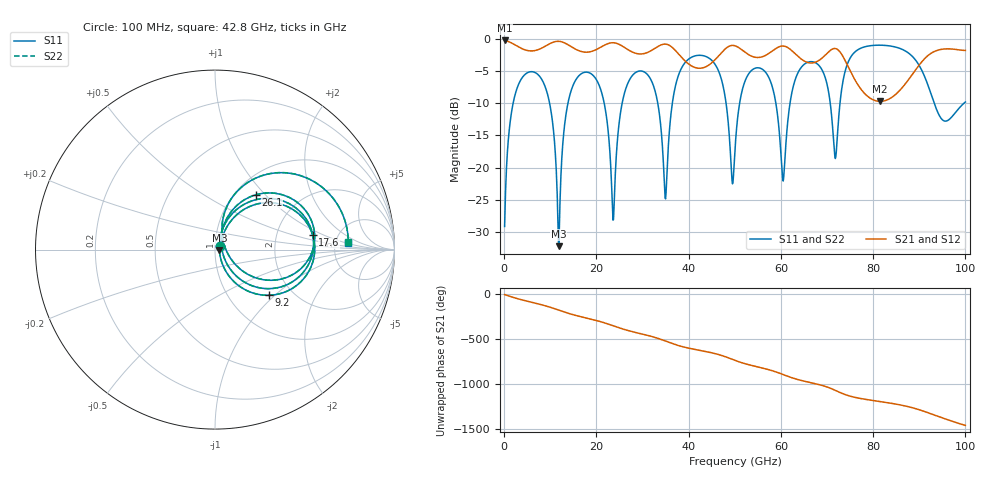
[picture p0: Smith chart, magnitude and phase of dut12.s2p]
! Touchstone file exported from HFSS 2026.1.0
!  File:  C:/ffzhzh/LocalFiles/Ansys_Project_Files/temp_train_TSV_RDL_12_1783437372_7600.aedt
!  Generated:  11:50:47 PM Jul  7, 2026
!  Design:  TSV_RDL
!  Project:  temp_train_TSV_RDL_12_1783437372_7600
! Variables:
!  h_bsmrdl = 2.25um
!  h_ox = 20um
!  h_rdl = 5um
!  h_sub = 75.77um
!  h_tmrdl = 2.56um
!  h_tsv = 75.77um
!  h_via = 3um
!  l_bsmrdl = 585.73um
!  l_sub = 5000.6um
!  l_tmrdl = 676um
!  m_sub = 200um
!  pitch = 53.32um
!  r_tsv = 9.97um
!  s_tmrdl = 10um
!  w_bsmrdl = 25.25um
!  w_sub = 500um
!  w_tmrdl = 21.22um
!  x_tsv_center1 = 686.61um
!  x_tsv_center2 = 1297.59um
!  x_tsv_center3 = 1994.81um
!  x_tsv_center4 = 2605.79um
!  x_tsv_center5 = 3303.01um
!  x_tsv_center6 = 3913.99um
# GHz S MA R 50.000000
! Terminal data exported
! Port[1] = TM_RDL1_1_T1
! Port[2] = TM_RDL5_1_T1
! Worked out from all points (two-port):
!   1000 points, 100 MHz to 100 GHz, reference 50 ohm
!   highest |S21| = -0.26 dB at 100 MHz (marker M1); lowest = -9.7 dB at 81.5 GHz (marker M2)
!   |S21| within 3 dB of the highest: start of sweep to 38.97 GHz; 45.71 GHz to 64.64 GHz (18.93 GHz wide, 34.3 % of centre) (the widest 2 of 4)
!   lowest |S11| = -32.2 dB at 11.8 GHz (marker M3), VSWR 1.05, Z = 52.5 - j0.397 ohm
!   |S11| at or under -10 dB: 9.857 GHz to 13.83 GHz (3.971 GHz wide, 33.5 % of centre); 21.7 GHz to 25.58 GHz (3.884 GHz wide, 16.4 % of centre); 93.24 GHz to 99.68 GHz (6.433 GHz wide, 6.67 % of centre) (the widest 3 of 8)
!   |S22| runs from -32.2 to -1.0 dB; largest |S21 - S12| = 6e-12
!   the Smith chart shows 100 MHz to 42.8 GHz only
!   S11 on the Smith chart (normalised r, x): 100 MHz: 1.06, +0.04; 9.2 GHz: 1.53, -0.92; 17.6 GHz: 3.26, +0.75; 26.1 GHz: 1.24, +0.88; 42.8 GHz: 6.59, +1.13
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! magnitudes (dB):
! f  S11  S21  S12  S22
! 100 MHz  -29.1  -0.3  -0.3  -29.1
! 2.9 GHz  -7.5  -1.2  -1.2  -7.5
! 9.2 GHz  -8.1  -1.0  -1.0  -8.1
! 11.8 GHz  -32.2  -0.4  -0.4  -32.2
! 16.8 GHz  -5.4  -2.0  -2.0  -5.4
! 17.6 GHz  -5.2  -2.1  -2.1  -5.2
! 21.5 GHz  -9.3  -1.1  -1.1  -9.3
! 23.6 GHz  -28.1  -0.6  -0.6  -28.2
! 26.1 GHz  -8.4  -1.3  -1.3  -8.4
! 33.4 GHz  -10.4  -1.2  -1.2  -10.4
! 35 GHz  -24.8  -0.8  -0.8  -24.8
! 37.5 GHz  -6.3  -2.1  -2.1  -6.3
! 42.8 GHz  -2.6  -4.5  -4.5  -2.6
! 50.1 GHz  -16.6  -1.1  -1.1  -16.6
! 55.6 GHz  -4.6  -2.9  -2.9  -4.6
! 60.5 GHz  -22.1  -1.1  -1.1  -21.9
! 66.7 GHz  -3.6  -3.8  -3.8  -3.5
! 71.8 GHz  -18.6  -1.5  -1.5  -18.3
! 74.7 GHz  -3.4  -4.5  -4.5  -3.4
! 81.5 GHz  -1.0  -9.7  -9.7  -1.0
! 83.4 GHz  -1.1  -9.4  -9.4  -1.1
! 100 GHz  -9.8  -1.8  -1.8  -9.8
